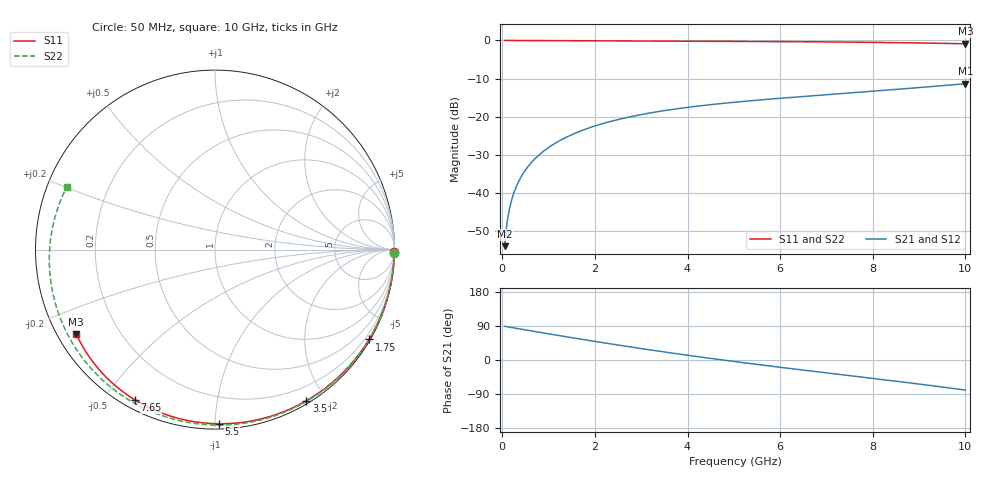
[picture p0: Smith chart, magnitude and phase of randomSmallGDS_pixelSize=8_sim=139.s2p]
! freq	dB(S11)	phase(S11)	dB(S12)	phase(S12)
!  dB(S21)	phase(S21)	dB(S22)	phase(S22)
!S-par simulation data
#  GHz  S  DB  R 50
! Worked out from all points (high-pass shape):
!   200 points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, 50 MHz to 10 GHz, reference 50 ohm
!   highest |S21| = -11.34 dB at 10 GHz (marker M1); lowest = -53.9 dB at 50 MHz (marker M2)
!   |S21| within 3 dB of the highest: 6.867 GHz to end of sweep
!   lowest |S11| = -0.9 dB at 10 GHz (marker M3), VSWR 20.00, Z = 2.7 - j14 ohm
!   |S11| at or under -10 dB: nowhere
!   |S22| runs from -0.9 to 0.0 dB; largest |S21 - S12| = 0
!   S11 on the Smith chart (normalised r, x): 50 MHz: open; 1.75 GHz: 0.05, -3.70; 3.5 GHz: 0.03, -1.77; 5.5 GHz: 0.03, -1.02; 7.65 GHz: 0.04, -0.60; 10 GHz: 0.05, -0.28
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0.05  -0.01 -0.9  -53.86 88.9  -53.86 88.9  -0.01 -1.2
0.1  -0.01 -1.8  -47.84 87.9  -47.84 87.9  -0.01 -2.4
0.15  -0.01 -2.6  -44.32 86.8  -44.32 86.8  -0.01 -3.6
0.2  -0.01 -3.5  -41.83 85.7  -41.83 85.7  -0.01 -4.8
0.25  -0.01 -4.4  -39.89 84.7  -39.89 84.7  -0.01 -6.0
0.35  -0.01 -6.1  -36.98 82.5  -36.98 82.5  -0.02 -8.4
0.5  -0.01 -8.8  -33.91 79.4  -33.91 79.4  -0.02 -12.1
0.7  -0.02 -12.2  -31.03 75.2  -31.03 75.2  -0.03 -16.9
1  -0.03 -17.4  -28.02 69.0  -28.02 69.0  -0.04 -24.0
1.35  -0.04 -23.5  -25.53 61.9  -25.53 61.9  -0.05 -32.2
1.75  -0.06 -30.3  -23.44 53.9  -23.44 53.9  -0.07 -41.5
2.6  -0.10 -44.4  -20.42 37.6  -20.42 37.6  -0.12 -60.5
3.4  -0.13 -57.2  -18.56 23.0  -18.56 23.0  -0.16 -77.6
3.5  -0.14 -58.8  -18.37 21.2  -18.37 21.2  -0.16 -79.6
4.25  -0.18 -70.4  -17.15 8.3  -17.15 8.3  -0.21 -94.8
5.05  -0.23 -82.2  -16.14 -4.6  -16.14 -4.6  -0.27 -110.2
5.5  -0.26 -88.7  -15.65 -11.6  -15.65 -11.6  -0.30 -118.6
6.7  -0.36 -105.4  -14.49 -29.6  -14.49 -29.6  -0.41 -140.6
7.65  -0.46 -118.1  -13.63 -43.4  -13.63 -43.4  -0.52 -157.7
8.35  -0.55 -127.2  -12.97 -53.7  -12.97 -53.7  -0.63 -170.6
9.2  -0.70 -138.3  -12.14 -66.6  -12.14 -66.6  -0.78 173.2
10  -0.87 -148.7  -11.34 -79.3  -11.34 -79.3  -0.95 157.0
